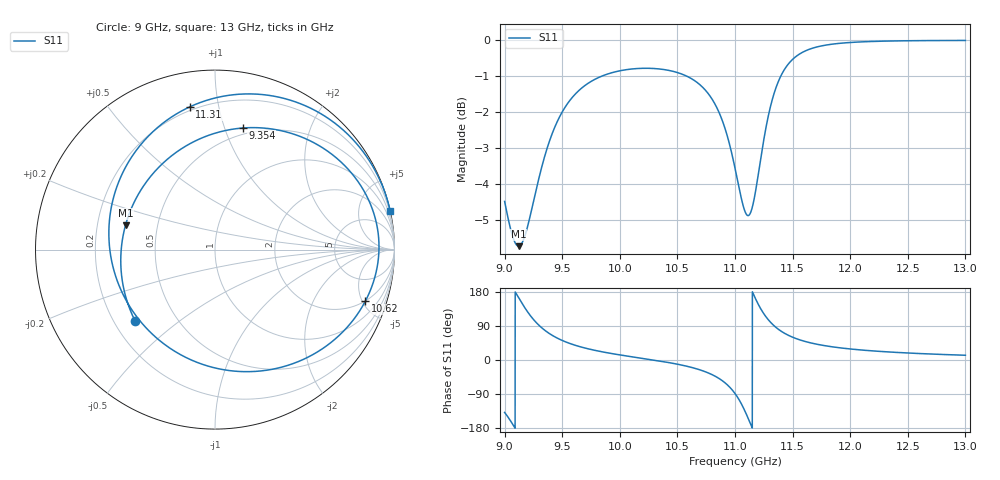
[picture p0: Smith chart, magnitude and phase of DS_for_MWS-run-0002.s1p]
! TOUCHSTONE file generated by CST DESIGN STUDIO
! Date and time: Tue Feb  4 17:20:05 2025
! Project name: C:\Work\MatlabApps\UnitCellOptimizationMatlab\CST\unitcell.cst
! Tree item: Tasks\Sweep1\SPara1\S-Parameters
! Header version: 2024
! Port assignment regex: !\s*Touchstone port\s*([0-9]+)\s*=\s*(CST MWS port|CST DES external port|CST DES block port)\s*(.+)\s* \(\"(.*)\"\)(\s*mode\s*([0-9]+))?.*
! Touchstone port assignment:
! Touchstone port 1 = CST DES external port 1 ("")
# GHz S MA R 50
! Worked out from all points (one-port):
!   4001 points, 9 GHz to 13 GHz, reference 50 ohm
!   lowest |S11| = -5.7 dB at 9.121 GHz (marker M1), VSWR 3.14, Z = 16.2 + j6.01 ohm
!   |S11| at or under -10 dB: nowhere
!   S11 on the Smith chart (normalised r, x): 9 GHz: 0.29, -0.35; 9.354 GHz: 0.44, +1.15; 10.62 GHz: 1.97, -5.26; 11.31 GHz: 0.18, +0.82; 13 GHz: 0.02, +9.12
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9  0.5965 -138.4
9.065  0.5363 -167.1
9.121  0.5168 164.7
9.182  0.5378 134.8
9.236  0.5822 112.3
9.354  0.6946 77.2
9.5  0.7946 51.6
9.71  0.8679 30.6
10  0.9068 13.4
10.5  0.9017 -11.1
10.616  0.8853 -19.0
10.74  0.8532 -30.7
10.838  0.8082 -44.5
10.921  0.747 -62.2
11  0.6638 -88.4
11.039  0.619 -106.7
11.075  0.5851 -127.5
11.118  0.5702 -156.6
11.156  0.5905 176.5
11.194  0.6381 151.7
11.236  0.7047 128.7
11.307  0.8075 100.1
11.385  0.8827 79.2
11.5  0.9406 60.1
11.699  0.9777 42.3
12  0.993 29.1
12.5  0.9985 18.5
13  0.9994 12.5
